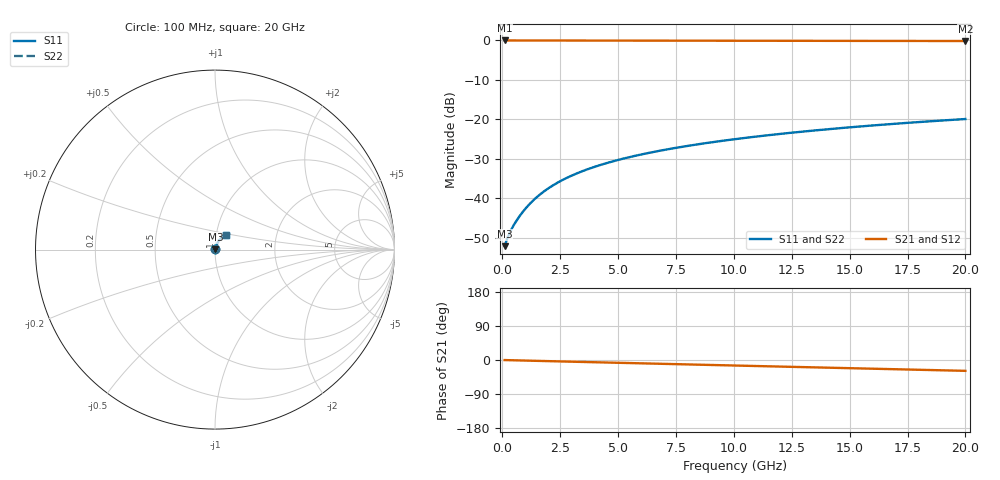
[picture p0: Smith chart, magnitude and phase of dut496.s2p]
! Touchstone file exported from HFSS 2026.1.0
!  File:  C:/ffzhzh/LocalFiles/Ansys_Project_Files/temp_train_BSMRDL_496_1783014103_4048.aedt
!  Generated:  01:43:00 AM Jul  3, 2026
!  Design:  BSMRDL
!  Project:  temp_train_BSMRDL_496_1783014103_4048
! Variables:
!  h_bsmrdl = 5.09um
!  h_ox = 20um
!  h_rdl = 5um
!  h_sub = 80um
!  h_tmrdl = 5um
!  h_tsv = 80um
!  h_via = 3um
!  l_bsmrdl = 502.94um
!  l_sub = 902.94um
!  l_tmrdl = 200um
!  m_sub = 200um
!  pitch = 23.88um
!  r_tsv = 6um
!  s_tmrdl = 10um
!  w_bsmrdl = 16.43um
!  w_sub = 500um
!  w_tmrdl = 12um
!  x_tsv_center1 = 206um
!  x_tsv_center2 = 725.37um
!  x_tsv_center3 = 937.37um
!  x_tsv_center4 = 1456.74um
!  x_tsv_center5 = 1668.74um
!  x_tsv_center6 = 2188.11um
# GHz S MA R 50.000000
! Terminal data exported
! Port[1] = BSM_RDL1_1_T1
! Port[2] = BSM_RDL1_1_T2
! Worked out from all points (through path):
!   200 points, 100 MHz to 20 GHz, reference 50 ohm
!   highest |S21| = -0.02 dB at 100 MHz (marker M1); lowest = -0.2 dB at 20 GHz (marker M2)
!   group delay of S21, straight-line fit = 3.96 ps
!   lowest |S11| = -52.1 dB at 100 MHz (marker M3), VSWR 1.00, Z = 50.2 + j0.0925 ohm
!   |S11| at or under -10 dB: start of sweep to end of sweep
!   |S22| runs from -52.1 to -19.9 dB; largest |S21 - S12| = 4.1e-15
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0.1  0.00248 21.8  0.9977 -0.2  0.9977 -0.2  0.00248 21.8
! Gamma 0 0 0 0
! Port Impedance 50 0 50 0
0.2  0.003027 33.8  0.9975 -0.3  0.9975 -0.3  0.003026 33.8
0.3  0.003567 40.9  0.9973 -0.5  0.9973 -0.5  0.003564 40.9
0.4  0.004085 46.2  0.9972 -0.6  0.9972 -0.6  0.004081 46.2
0.6  0.005139 54.1  0.997 -0.9  0.997 -0.9  0.005134 54.1
0.9  0.006826 61.6  0.9968 -1.4  0.9968 -1.4  0.006824 61.6
1.1  0.008004 64.7  0.9967 -1.7  0.9967 -1.7  0.008003 64.7
1.3  0.009205 66.9  0.9966 -2.0  0.9966 -2.0  0.009205 66.9
1.7  0.01164 69.6  0.9963 -2.6  0.9963 -2.6  0.01164 69.6
2.2  0.01467 71.2  0.9959 -3.3  0.9959 -3.3  0.01467 71.2
2.8  0.01825 71.8  0.9954 -4.2  0.9954 -4.2  0.01826 71.8
3.5  0.02232 71.8  0.9947 -5.2  0.9947 -5.2  0.02232 71.8
4.2  0.02626 71.4  0.9941 -6.2  0.9941 -6.2  0.02626 71.4
5  0.03063 70.8  0.9933 -7.4  0.9933 -7.4  0.03063 70.8
5.9  0.0354 69.9  0.9924 -8.7  0.9924 -8.7  0.0354 69.9
6.8  0.04006 69.0  0.9916 -10.0  0.9916 -10.0  0.04005 69.1
8.3  0.04761 67.5  0.9903 -12.1  0.9903 -12.1  0.0476 67.5
10.1  0.05641 65.5  0.9888 -14.7  0.9888 -14.7  0.0564 65.6
11.7  0.06404 63.8  0.9876 -16.9  0.9876 -16.9  0.06403 63.8
13.4  0.07197 61.8  0.9863 -19.3  0.9863 -19.3  0.07196 61.9
16.7  0.08685 57.9  0.9838 -24.0  0.9838 -24.0  0.08684 58.0
20  0.101 53.8  0.9814 -28.6  0.9814 -28.6  0.101 53.9
